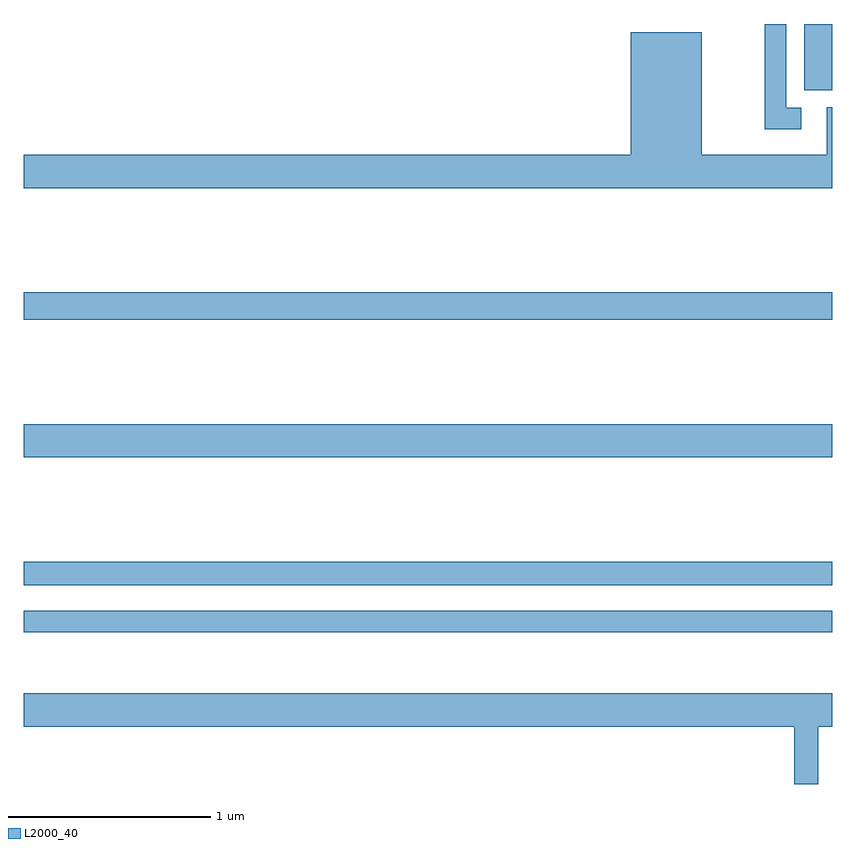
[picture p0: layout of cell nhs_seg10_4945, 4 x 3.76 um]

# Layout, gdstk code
import gdstk
lib = gdstk.Library(unit=1e-6, precision=1e-09)
def R(c, l, rs):  # rectangles x0, y0, x1, y1
    for r in rs: c.add(gdstk.rectangle(r[:2], r[2:], *l))
def P(c, l, *ps):  # polygons
    for p in ps: c.add(gdstk.Polygon(p, *l))
L2000_40 = (2000, 40)

nhs_seg10_4945 = lib.new_cell('nhs_seg10_4945')
R(nhs_seg10_4945, L2000_40, [(397,1259.49,401,1259.598), (397,1259.724,401,1259.84), (397,1260.356,401,1260.52), (397,1261.036,401,1261.172), (400.862,1262.173,401,1262.5)])
P(nhs_seg10_4945, L2000_40, [(400.846,1262.085),(400.773,1262.085),(400.773,1262.5),(400.665,1262.5),(400.665,1261.98),(400.846,1261.98)],
  [(401,1262.088),(400.973,1262.088),(400.973,1261.852),(400.354,1261.852),(400.354,1262.458),(400.004,1262.458),(400.004,1261.852),(397,1261.852),(397,1261.688),(401,1261.688)],
  [(400.93,1259.024),(401,1259.024),(401,1259.188),(397,1259.188),(397,1259.024),(400.813,1259.024),(400.813,1258.74),(400.93,1258.74)])

lib.write_gds('nhs_seg10_4945.gds')
